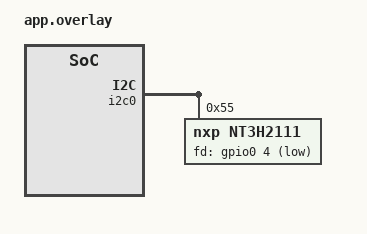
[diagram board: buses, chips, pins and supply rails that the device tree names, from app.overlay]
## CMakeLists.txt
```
# SPDX-FileCopyrightText: Copyright The Zephyr Project Contributors
# SPDX-License-Identifier: Apache-2.0

cmake_minimum_required(VERSION 3.20.0)

find_package(Zephyr REQUIRED HINTS $ENV{ZEPHYR_BASE})
project(rfid_nt3h2x11)

target_include_directories(app PRIVATE ${ZEPHYR_BASE}/drivers/rfid)
target_sources(app PRIVATE src/main.c)
```

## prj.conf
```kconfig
CONFIG_ZTEST=y
CONFIG_EMUL=y
CONFIG_GPIO=y
CONFIG_I2C=y
CONFIG_RFID=y
```

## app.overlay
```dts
/*
 * SPDX-FileCopyrightText: Copyright The Zephyr Project Contributors
 * SPDX-License-Identifier: Apache-2.0
 */

&i2c0 {
	nt3h2111: nfc@55 {
		compatible = "nxp,nt3h2111";
		reg = <0x55>;
		fd-gpios = <&gpio0 4 GPIO_ACTIVE_LOW>;
	};
};
```

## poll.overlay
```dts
/*
 * SPDX-FileCopyrightText: Copyright The Zephyr Project Contributors
 * SPDX-License-Identifier: Apache-2.0
 */

&nt3h2111 {
	/delete-property/ fd-gpios;
};
```

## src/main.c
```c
/*
 * SPDX-FileCopyrightText: Copyright The Zephyr Project Contributors
 * SPDX-License-Identifier: Apache-2.0
 */

#include <errno.h>
#include <string.h>

#include <zephyr/device.h>
#include <zephyr/drivers/emul.h>
#include <zephyr/drivers/rfid.h>
#include <zephyr/kernel.h>
#include <zephyr/ztest.h>

#include "rfid_nt3h2x11_emul.h"

#define SRAM_SIZE 64U
#define TARGET_MODE (RFID_MODE_TARGET | RFID_MODE_TX_106 | RFID_MODE_RX_106)

static const struct device *const dev = DEVICE_DT_GET(DT_NODELABEL(nt3h2111));
static const struct emul *const emul = EMUL_DT_GET(DT_NODELABEL(nt3h2111));

/* Reader on the NFC side, run from the system work queue while the host blocks */
struct reader {
	struct k_work_delayable work;
	struct k_sem done;
	bool write;
	int result;
	uint8_t tx[SRAM_SIZE];
	uint8_t rx[SRAM_SIZE];
};

static struct reader reader;

static void reader_handler(struct k_work *work)
{
	struct k_work_delayable *dwork = k_work_delayable_from_work(work);
	struct reader *r = CONTAINER_OF(dwork, struct reader, work);
	int ret;

	nt3h2x11_emul_set_field(emul, true);

	if (r->write) {
		ret = nt3h2x11_emul_reader_write(emul, r->tx);
	} else {
		ret = nt3h2x11_emul_reader_read(emul, r->rx);
	}

	if (ret == -EAGAIN) {
		(void)k_work_reschedule(dwork, K_MSEC(1));
		return;
	}

	r->result = ret;
	k_sem_give(&r->done);
}

static void reader_start(bool write, uint8_t seed)
{
	reader.write = write;
	reader.result = -EINPROGRESS;
	for (size_t i = 0U; i < SRAM_SIZE; i++) {
		reader.tx[i] = (uint8_t)(seed + i);
	}
	memset(reader.rx, 0, sizeof(reader.rx));
	(void)k_work_schedule(&reader.work, K_MSEC(5));
}

static void set_timeout(uint32_t timeout_us)
{
	struct rfid_property prop = {
		.type = RFID_PROP_TIMEOUT,
		.timeout_us = timeout_us,
	};

	zassert_ok(rfid_set_properties(dev, &prop, 1));
	zassert_ok(prop.status);
}

ZTEST(nt3h2x11, test_capabilities)
{
	zassert_equal(rfid_supported_protocols(dev), RFID_PROTO_ISO14443A);
	zassert_equal(rfid_supported_modes(dev, RFID_PROTO_ISO14443B), 0U);
	zassert_true((rfid_supported_modes(dev, RFID_PROTO_ISO14443A) & RFID_MODE_TARGET) != 0U);

	zassert_equal(rfid_set_protocol(dev, RFID_PROTO_ISO14443A,
					RFID_MODE_INITIATOR | RFID_MODE_TX_106 | RFID_MODE_RX_106),
		      -ENOTSUP);
	zassert_equal(rfid_set_protocol(dev, RFID_PROTO_ISO14443A,
					RFID_MODE_TARGET | RFID_MODE_TX_212 | RFID_MODE_RX_212),
		      -ENOTSUP);
	zassert_ok(rfid_set_protocol(dev, RFID_PROTO_ISO14443A, TARGET_MODE));
}

ZTEST(nt3h2x11, test_properties)
{
	struct rfid_property props[] = {
		{.type = RFID_PROP_RF_FIELD},
		{.type = RFID_PROP_SENS_RES},
		{.type = RFID_PROP_SEL_RES},
		{.type = RFID_PROP_UID_SIZE},
		{.type = RFID_PROP_HW_TX_CRC},
	};

	zassert_ok(rfid_get_properties(dev, props, ARRAY_SIZE(props)));
	zassert_ok(props[0].status);
	zassert_false(props[0].rf_on);
	zassert_ok(props[1].status);
	zassert_equal(props[1].sens_res[0], 0x44);
	zassert_equal(props[1].sens_res[1], 0x00);
	zassert_ok(props[2].status);
	zassert_equal(props[2].sel_res, 0x00);
	zassert_ok(props[3].status);
	zassert_equal(props[3].uid_size, 7U);
	zassert_equal(props[4].status, -ENOTSUP);

	nt3h2x11_emul_set_field(emul, true);
	zassert_ok(rfid_get_properties(dev, props, 1));
	zassert_true(props[0].rf_on);
}

ZTEST(nt3h2x11, test_exchange)
{
	const uint8_t answer[] = {0xde, 0xad, 0xbe, 0xef};
	uint8_t expected[SRAM_SIZE] = {0};
	uint8_t rx[SRAM_SIZE];
	uint16_t rx_len = sizeof(rx);

	zassert_ok(rfid_claim(dev));
	set_timeout(USEC_PER_SEC);
	zassert_ok(rfid_set_protocol(dev, RFID_PROTO_ISO14443A, TARGET_MODE));

	/* The reader enters the field after listen started, then writes */
	reader_start(true, 0x10);
	zassert_ok(rfid_target_listen(dev, RFID_PROTO_ISO14443A, rx, &rx_len));
	zassert_ok(k_sem_take(&reader.done, K_SECONDS(1)));
	zassert_ok(reader.result);
	zassert_equal(rx_len, SRAM_SIZE);
	zassert_mem_equal(rx, reader.tx, SRAM_SIZE);

	/* Transmit completes once the reader has read the padded SRAM back */
	reader_start(false, 0);
	zassert_ok(rfid_target_transmit(dev, answer, sizeof(answer), 8U));
	zassert_ok(k_sem_take(&reader.done, K_SECONDS(1)));
	zassert_ok(reader.result);
	memcpy(expected, answer, sizeof(answer));
	zassert_mem_equal(reader.rx, expected, SRAM_SIZE);

	reader_start(true, 0x80);
	rx_len = sizeof(rx);
	zassert_ok(rfid_target_receive(dev, rx, &rx_len));
	zassert_ok(k_sem_take(&reader.done, K_SECONDS(1)));
	zassert_ok(reader.result);
	zassert_mem_equal(rx, reader.tx, SRAM_SIZE);
	zassert_ok(rfid_release(dev));
}

ZTEST(nt3h2x11, test_errors)
{
	uint8_t buf[SRAM_SIZE + 1U] = {0};
	uint16_t len = SRAM_SIZE - 1U;

	zassert_equal(rfid_target_listen(dev, RFID_PROTO_ISO14443A, buf, &len), -ENOSPC);
	zassert_equal(rfid_target_listen(dev, RFID_PROTO_ISO14443B, buf, &len), -ENOTSUP);
	zassert_equal(rfid_target_transmit(dev, buf, sizeof(buf), 8U), -EMSGSIZE);
	zassert_equal(rfid_target_transmit(dev, buf, 1U, 7U), -ENOTSUP);

	/* Pass-through needs a reader in the field */
	len = SRAM_SIZE;
	zassert_equal(rfid_target_receive(dev, buf, &len), -ENOTCONN);
	zassert_equal(rfid_target_transmit(dev, buf, 1U, 8U), -ENOTCONN);

	set_timeout(20U * USEC_PER_MSEC);
	zassert_equal(rfid_target_listen(dev, RFID_PROTO_ISO14443A, buf, &len), -ETIMEDOUT);
}

static void *nt3h2x11_setup(void)
{
	zassert_true(device_is_ready(dev));
	k_work_init_delayable(&reader.work, reader_handler);
	k_sem_init(&reader.done, 0, 1);

	return NULL;
}

static void nt3h2x11_before(void *fixture)
{
	ARG_UNUSED(fixture);

	nt3h2x11_emul_set_field(emul, false);
}

static void nt3h2x11_after(void *fixture)
{
	struct k_work_sync sync;

	ARG_UNUSED(fixture);

	(void)k_work_cancel_delayable_sync(&reader.work, &sync);
	k_sem_reset(&reader.done);
}

ZTEST_SUITE(nt3h2x11, NULL, nt3h2x11_setup, nt3h2x11_before, nt3h2x11_after, NULL);
```
